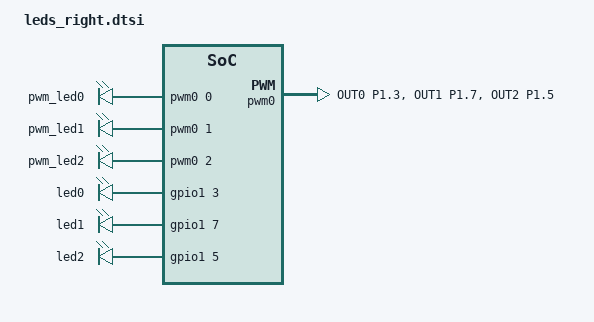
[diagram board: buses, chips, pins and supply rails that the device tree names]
&pinctrl {
	pwm0_default_led: pwm0_default_led {
		group1 {
			psels = <NRF_PSEL(PWM_OUT0, 1, 3)>, //LED0
							<NRF_PSEL(PWM_OUT1, 1, 7)>, // LED 1
							<NRF_PSEL(PWM_OUT2, 1, 5)>; // LED 2
		};
	};
	pwm0_sleep_led: pwm0_sleep_led {
		group1 {
			psels = <NRF_PSEL(PWM_OUT0, 1, 3)>, // LED0
							<NRF_PSEL(PWM_OUT1, 1, 7)>, // LED 1
							<NRF_PSEL(PWM_OUT2, 1, 5)>; // LED 2
			low-power-enable;
		};
	};
};
&pwm0 {
	status = "okay";
	pinctrl-0 = <&pwm0_default_led>;
	pinctrl-1 = <&pwm0_sleep_led>;
	pinctrl-names = "default", "sleep";
};
/ {
pwmleds {
		compatible = "pwm-leds";
		pwm_led0: led_0 {
			pwms = <&pwm0 0 0 PWM_POLARITY_INVERTED>;
		};
		pwm_led1: led_1 {
			pwms = <&pwm0 1 0 PWM_POLARITY_INVERTED>;
		};
		pwm_led2: led_2 {
			pwms = <&pwm0 2 0 PWM_POLARITY_INVERTED>;
		};
	};
	aliases {
		pwm-led0 = &pwm_led0;
		pwm-led1 = &pwm_led1;
		pwm-led2= &pwm_led2;
	};
};
/ {
    aliases {
        led-red = &led0;
        led-green = &led1;
        led-blue = &led2;
    };

    leds {
        compatible = "gpio-leds";
        status = "okay";
        led0: led_0 {
            gpios = <&gpio1 3 GPIO_ACTIVE_HIGH>;  
        };
        led1: led_1 {
            gpios = <&gpio1 7 GPIO_ACTIVE_HIGH>;  
        };
        led2: led_2 {
            gpios = <&gpio1 5 GPIO_ACTIVE_HIGH>; 
        };
    };
};
